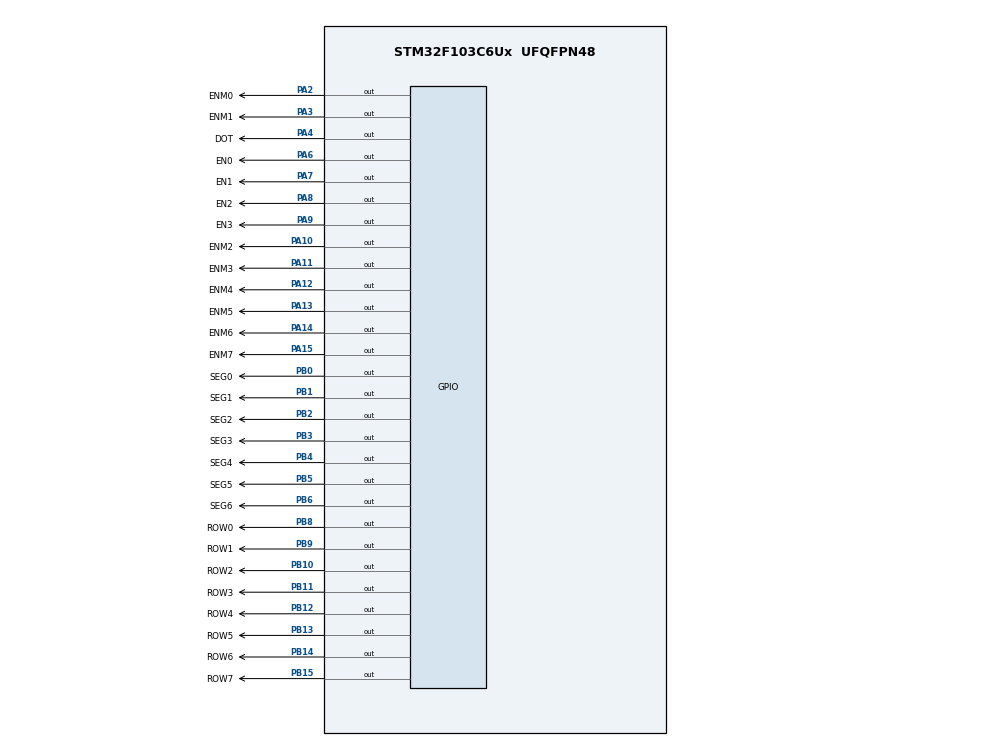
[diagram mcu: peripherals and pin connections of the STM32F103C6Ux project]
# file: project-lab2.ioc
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Mcu.Family=STM32F1
Mcu.Name=STM32F103C6Ux
Mcu.Package=UFQFPN48
NVIC.PriorityGroup=NVIC_PRIORITYGROUP_4
NVIC.TIM2_IRQn=true\:0\:0\:false\:false\:true\:true\:true
PA10.GPIO_Label=ENM2
PA10.Signal=GPIO_Output
PA11.GPIO_Label=ENM3
PA11.Signal=GPIO_Output
PA12.GPIO_Label=ENM4
PA12.Signal=GPIO_Output
PA13.GPIO_Label=ENM5
PA13.Signal=GPIO_Output
PA14.GPIO_Label=ENM6
PA14.Signal=GPIO_Output
PA15.GPIO_Label=ENM7
PA15.Signal=GPIO_Output
PA2.GPIO_Label=ENM0
PA2.Signal=GPIO_Output
PA3.GPIO_Label=ENM1
PA3.Signal=GPIO_Output
PA4.GPIO_Label=DOT
PA4.Signal=GPIO_Output
PA6.GPIO_Label=EN0
PA6.Signal=GPIO_Output
PA7.GPIO_Label=EN1
PA7.Signal=GPIO_Output
PA8.GPIO_Label=EN2
PA8.Signal=GPIO_Output
PA9.GPIO_Label=EN3
PA9.Signal=GPIO_Output
PB0.GPIO_Label=SEG0
PB0.Signal=GPIO_Output
PB1.GPIO_Label=SEG1
PB1.Signal=GPIO_Output
PB10.GPIO_Label=ROW2
PB10.Signal=GPIO_Output
PB11.GPIO_Label=ROW3
PB11.Signal=GPIO_Output
PB12.GPIO_Label=ROW4
PB12.Signal=GPIO_Output
PB13.GPIO_Label=ROW5
PB13.Signal=GPIO_Output
PB14.GPIO_Label=ROW6
PB14.Signal=GPIO_Output
PB15.GPIO_Label=ROW7
PB15.Signal=GPIO_Output
PB2.GPIO_Label=SEG2
PB2.Signal=GPIO_Output
PB3.GPIO_Label=SEG3
PB3.Signal=GPIO_Output
PB4.GPIO_Label=SEG4
PB4.Signal=GPIO_Output
PB5.GPIO_Label=SEG5
PB5.Signal=GPIO_Output
PB6.GPIO_Label=SEG6
PB6.Signal=GPIO_Output
PB8.GPIO_Label=ROW0
PB8.Signal=GPIO_Output
PB9.GPIO_Label=ROW1
PB9.Signal=GPIO_Output
ProjectManager.HeapSize=0x200
ProjectManager.StackSize=0x400
ProjectManager.TargetToolchain=STM32CubeIDE
RCC.APB1Freq_Value=8000000
RCC.APB2Freq_Value=8000000
TIM2.Period=9
TIM2.Prescaler=7999
VP_SYS_VS_ND.Mode=No_Debug
VP_TIM2_VS_ClockSourceINT.Mode=Internal
board=custom

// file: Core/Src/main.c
/* USER CODE BEGIN Header */
/**
  ******************************************************************************
  * @file           : main.c
  * @brief          : Main program body
  ******************************************************************************
  * @attention
  *
  * <h2><center>&copy; Copyright (c) 2024 STMicroelectronics.
  * All rights reserved.</center></h2>
  *
  * This software component is licensed by ST under BSD 3-Clause license,
  * the "License"; You may not use this file except in compliance with the
  * License. You may obtain a copy of the License at:
  *                        opensource.org/licenses/BSD-3-Clause
  *
  ******************************************************************************
  */
/* USER CODE END Header */
#include "main.h"

/* USER CODE BEGIN Includes */
#include "exercise.h"
#include "software_timer.h"
/* USER CODE END Includes */

TIM_HandleTypeDef htim2;

void SystemClock_Config(void);
static void MX_GPIO_Init(void);
static void MX_TIM2_Init(void);

int main(void)
{

  /* MCU Configuration--------------------------------------------------------*/

  /* Reset of all peripherals, Initializes the Flash interface and the Systick. */
  HAL_Init();

  /* Configure the system clock */
  SystemClock_Config();

  /* Initialize all configured peripherals */
  MX_GPIO_Init();
  MX_TIM2_Init();
  /* USER CODE BEGIN 2 */
  HAL_TIM_Base_Start_IT(&htim2);
  /* USER CODE END 2 */

  /* Infinite loop */
  /* USER CODE BEGIN WHILE */
  setTimer0(1000);
  setTimer1(1000);
  setTimer2(1000);
  while (1)
  {
	  if(timer0_flag==1){
		  setTimer0(1000);
	  }
	  if(timer1_flag==1){
		  setTimer1(1000);
		  timer1_run();
	  }
	  if(timer2_flag==1){
		  setTimer2(100);
		  timer2_run();
	  }
    /* USER CODE END WHILE */

  }
}

void SystemClock_Config(void)
{
  RCC_OscInitTypeDef RCC_OscInitStruct = {0};
  RCC_ClkInitTypeDef RCC_ClkInitStruct = {0};

  /** Initializes the RCC Oscillators according to the specified parameters
  * in the RCC_OscInitTypeDef structure.
  */
  RCC_OscInitStruct.OscillatorType = RCC_OSCILLATORTYPE_HSI;
  RCC_OscInitStruct.HSIState = RCC_HSI_ON;
  RCC_OscInitStruct.HSICalibrationValue = RCC_HSICALIBRATION_DEFAULT;
  RCC_OscInitStruct.PLL.PLLState = RCC_PLL_NONE;
  if (HAL_RCC_OscConfig(&RCC_OscInitStruct) != HAL_OK)
  {
    Error_Handler();
  }
  /** Initializes the CPU, AHB and APB buses clocks
  */
  RCC_ClkInitStruct.ClockType = RCC_CLOCKTYPE_HCLK|RCC_CLOCKTYPE_SYSCLK
                              |RCC_CLOCKTYPE_PCLK1|RCC_CLOCKTYPE_PCLK2;
  RCC_ClkInitStruct.SYSCLKSource = RCC_SYSCLKSOURCE_HSI;
  RCC_ClkInitStruct.AHBCLKDivider = RCC_SYSCLK_DIV1;
  RCC_ClkInitStruct.APB1CLKDivider = RCC_HCLK_DIV1;
  RCC_ClkInitStruct.APB2CLKDivider = RCC_HCLK_DIV1;

  if (HAL_RCC_ClockConfig(&RCC_ClkInitStruct, FLASH_LATENCY_0) != HAL_OK)
  {
    Error_Handler();
  }
}

static void MX_TIM2_Init(void)
{

  TIM_ClockConfigTypeDef sClockSourceConfig = {0};
  TIM_MasterConfigTypeDef sMasterConfig = {0};

  htim2.Instance = TIM2;
  htim2.Init.Prescaler = 7999;
  htim2.Init.CounterMode = TIM_COUNTERMODE_UP;
  htim2.Init.Period = 9;
  htim2.Init.ClockDivision = TIM_CLOCKDIVISION_DIV1;
  htim2.Init.AutoReloadPreload = TIM_AUTORELOAD_PRELOAD_DISABLE;
  if (HAL_TIM_Base_Init(&htim2) != HAL_OK)
  {
    Error_Handler();
  }
  sClockSourceConfig.ClockSource = TIM_CLOCKSOURCE_INTERNAL;
  if (HAL_TIM_ConfigClockSource(&htim2, &sClockSourceConfig) != HAL_OK)
  {
    Error_Handler();
  }
  sMasterConfig.MasterOutputTrigger = TIM_TRGO_RESET;
  sMasterConfig.MasterSlaveMode = TIM_MASTERSLAVEMODE_DISABLE;
  if (HAL_TIMEx_MasterConfigSynchronization(&htim2, &sMasterConfig) != HAL_OK)
  {
    Error_Handler();
  }

}

static void MX_GPIO_Init(void)
{
  GPIO_InitTypeDef GPIO_InitStruct = {0};

  /* GPIO Ports Clock Enable */
  __HAL_RCC_GPIOA_CLK_ENABLE();
  __HAL_RCC_GPIOB_CLK_ENABLE();

  /*Configure GPIO pin Output Level */
  HAL_GPIO_WritePin(GPIOA, ENM0_Pin|ENM1_Pin|DOT_Pin|EN0_Pin
                          |EN1_Pin|EN2_Pin|EN3_Pin|ENM2_Pin
                          |ENM3_Pin|ENM4_Pin|ENM5_Pin|ENM6_Pin
                          |ENM7_Pin, GPIO_PIN_RESET);

  /*Configure GPIO pin Output Level */
  HAL_GPIO_WritePin(GPIOB, SEG0_Pin|SEG1_Pin|SEG2_Pin|ROW2_Pin
                          |ROW3_Pin|ROW4_Pin|ROW5_Pin|ROW6_Pin
                          |ROW7_Pin|SEG3_Pin|SEG4_Pin|SEG5_Pin
                          |SEG6_Pin|ROW0_Pin|ROW1_Pin, GPIO_PIN_RESET);

  /*Configure GPIO pins : ENM0_Pin ENM1_Pin DOT_Pin EN0_Pin
                           EN1_Pin EN2_Pin EN3_Pin ENM2_Pin
                           ENM3_Pin ENM4_Pin ENM5_Pin ENM6_Pin
                           ENM7_Pin */
  GPIO_InitStruct.Pin = ENM0_Pin|ENM1_Pin|DOT_Pin|EN0_Pin
                          |EN1_Pin|EN2_Pin|EN3_Pin|ENM2_Pin
                          |ENM3_Pin|ENM4_Pin|ENM5_Pin|ENM6_Pin
                          |ENM7_Pin;
  GPIO_InitStruct.Mode = GPIO_MODE_OUTPUT_PP;
  GPIO_InitStruct.Pull = GPIO_NOPULL;
  GPIO_InitStruct.Speed = GPIO_SPEED_FREQ_LOW;
  HAL_GPIO_Init(GPIOA, &GPIO_InitStruct);

  /*Configure GPIO pins : SEG0_Pin SEG1_Pin SEG2_Pin ROW2_Pin
                           ROW3_Pin ROW4_Pin ROW5_Pin ROW6_Pin
                           ROW7_Pin SEG3_Pin SEG4_Pin SEG5_Pin
                           SEG6_Pin ROW0_Pin ROW1_Pin */
  GPIO_InitStruct.Pin = SEG0_Pin|SEG1_Pin|SEG2_Pin|ROW2_Pin
                          |ROW3_Pin|ROW4_Pin|ROW5_Pin|ROW6_Pin
                          |ROW7_Pin|SEG3_Pin|SEG4_Pin|SEG5_Pin
                          |SEG6_Pin|ROW0_Pin|ROW1_Pin;
  GPIO_InitStruct.Mode = GPIO_MODE_OUTPUT_PP;
  GPIO_InitStruct.Pull = GPIO_NOPULL;
  GPIO_InitStruct.Speed = GPIO_SPEED_FREQ_LOW;
  HAL_GPIO_Init(GPIOB, &GPIO_InitStruct);

}

/* USER CODE BEGIN 4 */
int counter0 =100;
int counter1 =100;
void HAL_TIM_PeriodElapsedCallback(TIM_HandleTypeDef *htim){
	timerRun();
}
/* USER CODE END 4 */

void Error_Handler(void)
{
  __disable_irq();
  while (1)
  {
  }
}

/************************ (C) COPYRIGHT STMicroelectronics *****END OF FILE****/
